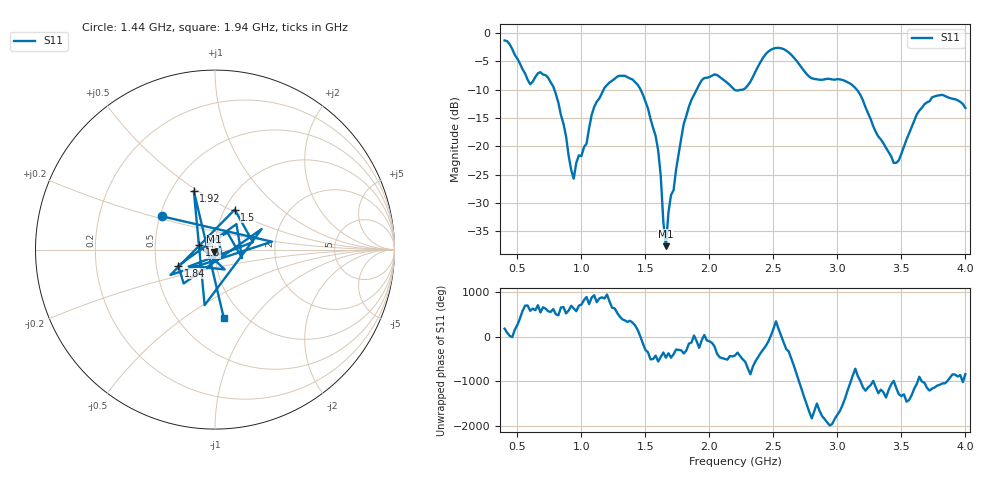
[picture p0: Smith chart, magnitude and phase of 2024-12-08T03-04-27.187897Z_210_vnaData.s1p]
!Created with skrf (http://scikit-rf.org).
# Hz S RI R 50.0
!freq ReS11 ImS11
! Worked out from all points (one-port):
!   181 points, 400 MHz to 4 GHz, reference 50 ohm
!   lowest |S11| = -37.7 dB at 1.66 GHz (marker M1), VSWR 1.03, Z = 49.6 - j1.23 ohm
!   |S11| at or under -10 dB: 788.5 MHz to 1.174 GHz (385.3 MHz wide, 39.3 % of centre); 1.462 GHz to 1.901 GHz (438.5 MHz wide, 26.1 % of centre); 3.151 GHz to end of sweep (the widest 3 of 4)
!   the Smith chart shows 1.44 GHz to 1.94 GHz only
!   S11 on the Smith chart (normalised r, x): 1.44 GHz: 0.51, +0.22; 1.5 GHz: 1.11, +0.53; 1.6 GHz: 0.84, +0.04; 1.84 GHz: 0.65, -0.12; 1.92 GHz: 0.65, +0.48; 1.94 GHz: 0.81, -0.72
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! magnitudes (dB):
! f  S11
! 400 MHz  -1.3
! 600 MHz  -9.1
! 740 MHz  -7.9
! 860 MHz  -16.1
! 940 MHz  -25.7
! 1.04 GHz  -19.6
! 1.1 GHz  -13.1
! 1.3 GHz  -7.6
! 1.44 GHz  -9.2
! 1.5 GHz  -12.1
! 1.6 GHz  -20.8
! 1.66 GHz  -37.7
! 1.68 GHz  -31.7
! 1.76 GHz  -21.3
! 1.84 GHz  -13.0
! 1.92 GHz  -9.1
! 1.94 GHz  -8.4
! 2.06 GHz  -7.4
! 2.2 GHz  -10.1
! 2.28 GHz  -9.8
! 2.48 GHz  -3.0
! 2.66 GHz  -4.4
! 2.8 GHz  -8.0
! 3.1 GHz  -8.9
! 3.44 GHz  -23.0
! 3.56 GHz  -17.8
! 3.74 GHz  -11.4
! 4 GHz  -13.2
